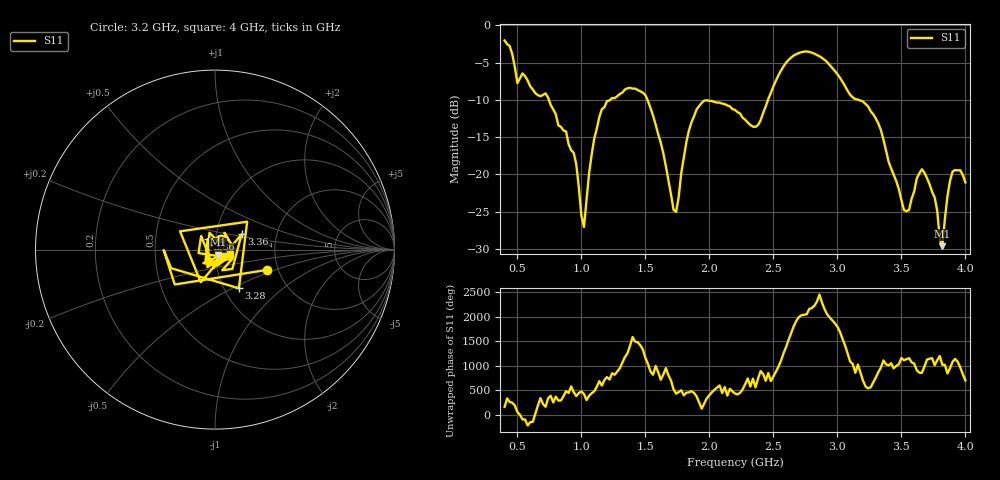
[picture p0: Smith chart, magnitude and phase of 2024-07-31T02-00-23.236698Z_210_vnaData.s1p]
!Created with skrf (http://scikit-rf.org).
# Hz S RI R 50.0
!freq ReS11 ImS11
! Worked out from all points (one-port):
!   181 points, 400 MHz to 4 GHz, reference 50 ohm
!   lowest |S11| = -29.6 dB at 3.82 GHz (marker M1), VSWR 1.07, Z = 51.7 - j2.92 ohm
!   |S11| at or under -10 dB: 746.2 MHz to 1.224 GHz (478.1 MHz wide, 48.5 % of centre); 1.516 GHz to 2.457 GHz (941.1 MHz wide, 47.4 % of centre); 3.166 GHz to end of sweep
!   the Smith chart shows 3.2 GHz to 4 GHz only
!   S11 on the Smith chart (normalised r, x): 3.2 GHz: 1.74, -0.44; 3.28 GHz: 1.17, -0.54; 3.36 GHz: 1.32, +0.23; 3.86 GHz: 0.91, +0.11; 4 GHz: 1.18, -0.06
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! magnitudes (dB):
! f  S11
! 400 MHz  -2.0
! 500 MHz  -7.7
! 720 MHz  -9.1
! 860 MHz  -14.1
! 960 MHz  -18.7
! 1.02 GHz  -27.1
! 1.08 GHz  -17.4
! 1.14 GHz  -12.3
! 1.3 GHz  -9.2
! 1.5 GHz  -9.4
! 1.72 GHz  -24.8
! 1.76 GHz  -23.0
! 1.82 GHz  -15.7
! 1.9 GHz  -11.3
! 2.2 GHz  -11.3
! 2.38 GHz  -13.4
! 2.66 GHz  -4.0
! 3.1 GHz  -9.3
! 3.2 GHz  -10.2
! 3.28 GHz  -11.9
! 3.36 GHz  -15.3
! 3.56 GHz  -24.8
! 3.66 GHz  -19.3
! 3.76 GHz  -23.1
! 3.82 GHz  -29.6
! 3.86 GHz  -22.9
! 3.9 GHz  -19.6
! 4 GHz  -21.1
